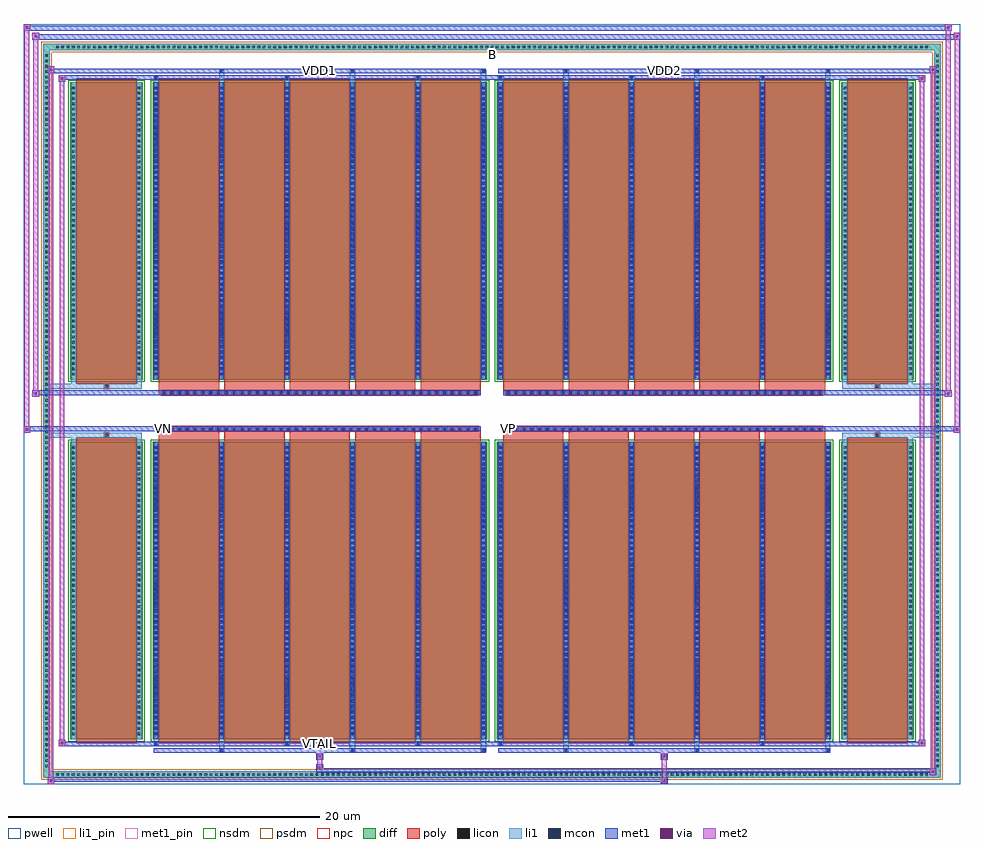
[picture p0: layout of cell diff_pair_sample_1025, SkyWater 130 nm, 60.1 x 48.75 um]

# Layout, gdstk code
import gdstk
lib = gdstk.Library(unit=1e-6, precision=5e-09)
def R(c, l, rs):  # rectangles x0, y0, x1, y1
    for r in rs: c.add(gdstk.rectangle(r[:2], r[2:], *l))
def A(c, l, x, y, w, h, nx, ny, dx, dy):  # array of equal rectangles
    R(c, l, [(x+i*dx, y+j*dy, x+i*dx+w, y+j*dy+h) for i in range(nx) for j in range(ny)])
def P(c, l, *ps):  # polygons
    for p in ps: c.add(gdstk.Polygon(p, *l))
pwell = (64, 44)
diff = (65, 20)
poly = (66, 20)
licon = (66, 44)
li1_pin = (67, 16)
li1 = (67, 20)
mcon = (67, 44)
met1_pin = (68, 16)
met1 = (68, 20)
via = (68, 44)
met2 = (69, 20)
nsdm = (93, 44)
psdm = (94, 20)
npc = (95, 20)

diff_pair_sample_1025 = lib.new_cell('diff_pair_sample_1025')
R(diff_pair_sample_1025, pwell, [(-30.05,-23.94,30.05,24.81), (-27.37,-22.13,-0.01,-0.795), (0.01,-22.13,27.37,-0.795), (-27.37,0.795,-0.01,22.13), (0.01,0.795,27.37,22.13)])
A(diff_pair_sample_1025, diff, -28.085, -23.54, 0.41, 0.41, 165, 2, 0.34, 46.67)
A(diff_pair_sample_1025, diff, -28.78, -22.985, 0.41, 0.41, 1, 135, 0, 0.34)
A(diff_pair_sample_1025, diff, 28.37, -22.985, 0.41, 0.41, 1, 135, 0, 0.34)
R(diff_pair_sample_1025, diff, [(-28.085,-23.54,28.085,-23.13), (-28.78,-22.985,-28.37,22.985), (28.37,-22.985,28.78,22.985), (-27.06,-21.085,-22.41,-1.985), (-21.77,-21.085,-0.32,-1.985), (0.32,-21.085,21.77,-1.985), (22.41,-21.085,27.06,-1.985), (-27.06,1.985,-22.41,21.085), (-21.77,1.985,-0.32,21.085), (0.32,1.985,21.77,21.085), (22.41,1.985,27.06,21.085), (-28.085,23.13,28.085,23.54)])
P(diff_pair_sample_1025, diff, [(28.78,23.54),(-28.78,23.54),(-28.78,-23.13),(-28.37,-23.13),(-28.37,23.13),(28.37,23.13),(28.37,-23.13),(-28.37,-23.13),(-28.78,-23.13),(-28.78,-23.54),(28.78,-23.54)])
A(diff_pair_sample_1025, poly, -21.38, -21.335, 3.87, 19.6, 5, 2, 4.2, 23.07)
A(diff_pair_sample_1025, poly, 0.71, -21.335, 3.87, 19.6, 5, 2, 4.2, 23.07)
A(diff_pair_sample_1025, poly, -21.38, -1.735, 3.87, 0.41, 5, 2, 4.2, 3.06)
A(diff_pair_sample_1025, poly, 0.71, -1.735, 3.87, 0.41, 5, 2, 4.2, 3.06)
A(diff_pair_sample_1025, poly, -21.21, -1.325, 0.33, 0.33, 41, 2, 0.5, 2.32)
A(diff_pair_sample_1025, poly, 0.88, -1.325, 0.33, 0.33, 41, 2, 0.5, 2.32)
R(diff_pair_sample_1025, poly, [(-26.67,-21.335,-22.8,-1.735), (22.8,-21.335,26.67,-1.735), (-24.9,-1.735,-24.57,-1.405), (-24.9,-1.735,-24.57,-1.405), (24.57,-1.735,24.9,-1.405), (24.57,-1.735,24.9,-1.405), (-21.38,-1.325,-0.71,-0.995), (0.71,-1.325,21.38,-0.995), (-21.38,0.995,-0.71,1.325), (0.71,0.995,21.38,1.325), (-24.9,1.405,-24.57,1.735), (-24.9,1.405,-24.57,1.735), (24.57,1.405,24.9,1.735), (24.57,1.405,24.9,1.735), (-26.67,1.735,-22.8,21.335), (22.8,1.735,26.67,21.335)])
A(diff_pair_sample_1025, licon, -27.965, -23.42, 0.17, 0.17, 165, 2, 0.34, 46.67)
A(diff_pair_sample_1025, licon, -28.66, -22.865, 0.17, 0.17, 1, 135, 0, 0.34)
A(diff_pair_sample_1025, licon, 28.49, -22.865, 0.17, 0.17, 1, 135, 0, 0.34)
A(diff_pair_sample_1025, licon, -26.92, -20.8, 0.17, 0.17, 1, 55, 0, 0.34)
A(diff_pair_sample_1025, licon, -22.72, -20.8, 0.17, 0.17, 1, 55, 0, 0.34)
A(diff_pair_sample_1025, licon, -21.63, -20.8, 0.17, 0.17, 6, 55, 4.2, 0.34)
A(diff_pair_sample_1025, licon, 0.46, -20.8, 0.17, 0.17, 6, 55, 4.2, 0.34)
A(diff_pair_sample_1025, licon, 22.55, -20.8, 0.17, 0.17, 1, 55, 0, 0.34)
A(diff_pair_sample_1025, licon, 26.75, -20.8, 0.17, 0.17, 1, 55, 0, 0.34)
A(diff_pair_sample_1025, licon, -21.13, -1.245, 0.17, 0.17, 41, 2, 0.5, 2.32)
A(diff_pair_sample_1025, licon, 0.96, -1.245, 0.17, 0.17, 41, 2, 0.5, 2.32)
A(diff_pair_sample_1025, licon, -26.92, 2.27, 0.17, 0.17, 1, 55, 0, 0.34)
A(diff_pair_sample_1025, licon, -22.72, 2.27, 0.17, 0.17, 1, 55, 0, 0.34)
A(diff_pair_sample_1025, licon, -21.63, 2.27, 0.17, 0.17, 6, 55, 4.2, 0.34)
A(diff_pair_sample_1025, licon, 0.46, 2.27, 0.17, 0.17, 6, 55, 4.2, 0.34)
A(diff_pair_sample_1025, licon, 22.55, 2.27, 0.17, 0.17, 1, 55, 0, 0.34)
A(diff_pair_sample_1025, licon, 26.75, 2.27, 0.17, 0.17, 1, 55, 0, 0.34)
R(diff_pair_sample_1025, licon, [(-24.82,-1.655,-24.65,-1.485), (24.65,-1.655,24.82,-1.485), (-24.82,1.485,-24.65,1.655), (24.65,1.485,24.82,1.655)])
R(diff_pair_sample_1025, li1_pin, [(-0.25,22.63,0.25,23.13)])
A(diff_pair_sample_1025, li1, -28.045, -23.5, 0.33, 0.33, 165, 2, 0.34, 46.67)
A(diff_pair_sample_1025, li1, -28.74, -22.945, 0.33, 0.33, 1, 135, 0, 0.34)
A(diff_pair_sample_1025, li1, 28.41, -22.945, 0.33, 0.33, 1, 135, 0, 0.34)
A(diff_pair_sample_1025, li1, -17.51, -21.89, 0.33, 0.805, 3, 2, 8.4, 42.975)
A(diff_pair_sample_1025, li1, -17.43, -21.89, 0.17, 0.17, 3, 2, 8.4, 43.61)
A(diff_pair_sample_1025, li1, 4.58, -21.89, 0.33, 0.805, 3, 2, 8.4, 42.975)
A(diff_pair_sample_1025, li1, 4.66, -21.89, 0.17, 0.17, 3, 2, 8.4, 43.61)
A(diff_pair_sample_1025, li1, -21.71, -21.46, 0.33, 0.375, 3, 2, 8.4, 42.545)
A(diff_pair_sample_1025, li1, -21.63, -21.46, 0.17, 0.17, 3, 2, 8.4, 42.75)
A(diff_pair_sample_1025, li1, 0.38, -21.46, 0.33, 0.375, 3, 2, 8.4, 42.545)
A(diff_pair_sample_1025, li1, 0.46, -21.46, 0.17, 0.17, 3, 2, 8.4, 42.75)
A(diff_pair_sample_1025, li1, -21.71, -21.085, 0.33, 19.1, 6, 2, 4.2, 23.07)
A(diff_pair_sample_1025, li1, 0.38, -21.085, 0.33, 19.1, 6, 2, 4.2, 23.07)
A(diff_pair_sample_1025, li1, -27, -20.88, 0.33, 0.33, 1, 55, 0, 0.34)
A(diff_pair_sample_1025, li1, -22.8, -20.88, 0.33, 0.33, 1, 55, 0, 0.34)
A(diff_pair_sample_1025, li1, -21.71, -20.88, 0.33, 0.33, 6, 55, 4.2, 0.34)
A(diff_pair_sample_1025, li1, 0.38, -20.88, 0.33, 0.33, 6, 55, 4.2, 0.34)
A(diff_pair_sample_1025, li1, 22.47, -20.88, 0.33, 0.33, 1, 55, 0, 0.34)
A(diff_pair_sample_1025, li1, 26.67, -20.88, 0.33, 0.33, 1, 55, 0, 0.34)
A(diff_pair_sample_1025, li1, -21.63, -20.8, 0.17, 0.17, 6, 52, 4.2, 0.36)
A(diff_pair_sample_1025, li1, -21.63, -20.8, 0.17, 18.53, 6, 2, 4.2, 23.07)
A(diff_pair_sample_1025, li1, 0.46, -20.8, 0.17, 0.17, 6, 52, 4.2, 0.36)
A(diff_pair_sample_1025, li1, 0.46, -20.8, 0.17, 18.53, 6, 2, 4.2, 23.07)
A(diff_pair_sample_1025, li1, -21.21, -1.325, 0.33, 0.33, 41, 2, 0.5, 2.32)
A(diff_pair_sample_1025, li1, 0.88, -1.325, 0.33, 0.33, 41, 2, 0.5, 2.32)
A(diff_pair_sample_1025, li1, -27, 2.19, 0.33, 0.33, 1, 55, 0, 0.34)
A(diff_pair_sample_1025, li1, -22.8, 2.19, 0.33, 0.33, 1, 55, 0, 0.34)
A(diff_pair_sample_1025, li1, -21.71, 2.19, 0.33, 0.33, 6, 55, 4.2, 0.34)
A(diff_pair_sample_1025, li1, 0.38, 2.19, 0.33, 0.33, 6, 55, 4.2, 0.34)
A(diff_pair_sample_1025, li1, 22.47, 2.19, 0.33, 0.33, 1, 55, 0, 0.34)
A(diff_pair_sample_1025, li1, 26.67, 2.19, 0.33, 0.33, 1, 55, 0, 0.34)
A(diff_pair_sample_1025, li1, -21.63, 2.27, 0.17, 0.17, 6, 52, 4.2, 0.36)
A(diff_pair_sample_1025, li1, 0.46, 2.27, 0.17, 0.17, 6, 52, 4.2, 0.36)
R(diff_pair_sample_1025, li1, [(-28.78,-23.54,-28.37,-23.13), (-28.78,-23.54,-28.37,-23.13), (-28.37,-23.54,28.37,-23.13), (28.37,-23.54,28.78,-23.13), (28.37,-23.54,28.78,-23.13), (-28.78,-23.13,-28.37,23.13), (28.37,-23.13,28.78,23.13), (-27,-21.085,-26.67,-1.985), (-22.8,-21.085,-22.47,-1.985), (22.47,-21.085,22.8,-1.985), (26.67,-21.085,27,-1.985), (-27,-1.985,-26.67,-1.405), (-22.8,-1.985,-22.47,-1.405), (22.47,-1.985,22.8,-1.405), (26.67,-1.985,27,-1.405), (-28.78,-1.735,-24.9,-1.405), (-27,-1.735,-24.9,-1.405), (-24.9,-1.735,-24.57,-1.405), (-24.57,-1.735,-22.47,-1.405), (22.47,-1.735,24.57,-1.405), (24.57,-1.735,24.9,-1.405), (24.57,-1.735,28.78,-1.405), (24.9,-1.735,27,-1.405), (-28.78,1.405,-24.9,1.735), (-27,1.405,-24.9,1.735), (-27,1.405,-26.67,1.985), (-24.9,1.405,-24.57,1.735), (-24.57,1.405,-22.47,1.735), (-22.8,1.405,-22.47,1.985), (22.47,1.405,24.57,1.735), (22.47,1.405,22.8,1.985), (24.57,1.405,24.9,1.735), (24.57,1.405,28.78,1.735), (24.9,1.405,27,1.735), (26.67,1.405,27,1.985), (-27,1.985,-26.67,21.085), (-22.8,1.985,-22.47,21.085), (22.47,1.985,22.8,21.085), (26.67,1.985,27,21.085), (-28.78,23.13,-28.37,23.54), (-28.78,23.13,-28.37,23.54), (-28.37,23.13,28.37,23.54), (28.37,23.13,28.78,23.54), (28.37,23.13,28.78,23.54)])
A(diff_pair_sample_1025, mcon, -17.43, -21.89, 0.17, 0.17, 3, 2, 8.4, 43.61)
A(diff_pair_sample_1025, mcon, 4.66, -21.89, 0.17, 0.17, 3, 2, 8.4, 43.61)
A(diff_pair_sample_1025, mcon, -21.63, -21.46, 0.17, 0.17, 3, 2, 8.4, 42.75)
A(diff_pair_sample_1025, mcon, 0.46, -21.46, 0.17, 0.17, 3, 2, 8.4, 42.75)
A(diff_pair_sample_1025, mcon, -21.63, -20.8, 0.17, 0.17, 6, 52, 4.2, 0.36)
A(diff_pair_sample_1025, mcon, 0.46, -20.8, 0.17, 0.17, 6, 52, 4.2, 0.36)
A(diff_pair_sample_1025, mcon, -21.13, -1.245, 0.17, 0.17, 41, 2, 0.5, 2.32)
A(diff_pair_sample_1025, mcon, 0.96, -1.245, 0.17, 0.17, 41, 2, 0.5, 2.32)
A(diff_pair_sample_1025, mcon, -21.63, 2.27, 0.17, 0.17, 6, 52, 4.2, 0.36)
A(diff_pair_sample_1025, mcon, 0.46, 2.27, 0.17, 0.17, 6, 52, 4.2, 0.36)
R(diff_pair_sample_1025, met1_pin, [(-11.18,-21.5,-10.91,-21.23), (-21.18,-1.285,-20.91,-1.015), (0.91,-1.285,1.18,-1.015), (-11.18,21.68,-10.91,21.95), (10.91,21.68,11.18,21.95)])
A(diff_pair_sample_1025, met1, -17.49, -21.95, 0.29, 0.29, 3, 2, 8.4, 43.61)
A(diff_pair_sample_1025, met1, 4.6, -21.95, 0.29, 0.29, 3, 2, 8.4, 43.61)
A(diff_pair_sample_1025, met1, -21.69, -21.52, 0.29, 0.29, 3, 2, 8.4, 42.75)
A(diff_pair_sample_1025, met1, 0.4, -21.52, 0.29, 0.29, 3, 2, 8.4, 42.75)
A(diff_pair_sample_1025, met1, -21.69, -21.085, 0.29, 19.1, 6, 2, 4.2, 23.07)
A(diff_pair_sample_1025, met1, 0.4, -21.085, 0.29, 19.1, 6, 2, 4.2, 23.07)
A(diff_pair_sample_1025, met1, -21.69, -20.86, 0.29, 0.29, 6, 52, 4.2, 0.36)
A(diff_pair_sample_1025, met1, 0.4, -20.86, 0.29, 0.29, 6, 52, 4.2, 0.36)
A(diff_pair_sample_1025, met1, -21.19, -1.305, 0.29, 0.29, 41, 2, 0.5, 2.32)
A(diff_pair_sample_1025, met1, 0.9, -1.305, 0.29, 0.29, 41, 2, 0.5, 2.32)
A(diff_pair_sample_1025, met1, -21.69, 2.21, 0.29, 0.29, 6, 52, 4.2, 0.36)
A(diff_pair_sample_1025, met1, 0.4, 2.21, 0.29, 0.29, 6, 52, 4.2, 0.36)
R(diff_pair_sample_1025, met1, [(-28.51,-23.94,-28.08,-23.51), (10.83,-23.94,11.26,-23.51), (-28.51,-23.8,11.26,-23.51), (28.08,-23.37,28.51,-22.94), (-11.26,-23.23,28.51,-22.94), (-11.26,-23.09,-10.83,-22.66), (-11.26,-22.38,-10.83,-21.95), (10.83,-22.38,11.26,-21.95), (-21.69,-21.95,-0.4,-21.66), (0.4,-21.95,21.69,-21.66), (-27.8,-21.52,-27.37,-21.09), (-27.8,-21.52,-21.69,-21.23), (-21.69,-21.52,-0.4,-21.23), (-0.4,-21.52,0.4,-21.23), (0.4,-21.52,21.69,-21.23), (21.69,-21.52,27.8,-21.23), (27.37,-21.52,27.8,-21.09), (-30.05,-1.425,-29.62,-0.995), (29.62,-1.425,30.05,-0.995), (-30.05,-1.325,-0.71,-0.995), (-21.38,-1.325,-0.71,-0.995), (0.71,-1.325,21.38,-0.995), (0.71,-1.325,30.05,-0.995), (-29.48,0.895,-29.05,1.325), (29.05,0.895,29.48,1.325), (-29.48,0.995,-21.38,1.325), (-21.38,0.995,-0.71,1.325), (0.71,0.995,21.38,1.325), (21.38,0.995,29.48,1.325), (-27.8,21.09,-27.37,21.52), (27.37,21.09,27.8,21.52), (-27.8,21.23,-21.69,21.52), (-21.69,21.23,-0.4,21.52), (-0.4,21.23,0.4,21.52), (0.4,21.23,21.69,21.52), (21.69,21.23,27.8,21.52), (-28.51,21.66,-28.08,22.09), (-28.51,21.66,-21.69,21.95), (-21.69,21.66,-0.4,21.95), (0.4,21.66,21.69,21.95), (21.69,21.66,28.51,21.95), (28.08,21.66,28.51,22.09), (-29.48,23.81,-29.05,24.24), (-29.48,23.81,-27.37,24.14), (-27.37,23.81,27.37,24.14), (27.37,23.81,30.05,24.14), (29.62,23.81,30.05,24.24), (-30.05,24.38,-29.62,24.81), (-30.05,24.38,-27.37,24.71), (-27.37,24.38,27.37,24.71), (27.37,24.38,29.48,24.71), (29.05,24.38,29.48,24.81)])
R(diff_pair_sample_1025, via, [(-28.37,-23.8,-28.22,-23.65), (10.97,-23.8,11.12,-23.65), (28.22,-23.23,28.37,-23.08), (-11.12,-22.95,-10.97,-22.8), (-11.12,-22.24,-10.97,-22.09), (10.97,-22.24,11.12,-22.09), (-27.66,-21.38,-27.51,-21.23), (27.51,-21.38,27.66,-21.23), (-29.91,-1.285,-29.76,-1.135), (29.76,-1.285,29.91,-1.135), (-29.34,1.035,-29.19,1.185), (29.19,1.035,29.34,1.185), (-27.66,21.23,-27.51,21.38), (27.51,21.23,27.66,21.38), (-28.37,21.8,-28.22,21.95), (28.22,21.8,28.37,21.95), (-29.34,23.95,-29.19,24.1), (29.76,23.95,29.91,24.1), (-29.91,24.52,-29.76,24.67), (29.19,24.52,29.34,24.67)])
R(diff_pair_sample_1025, met2, [(-28.51,-23.94,-28.08,-23.51), (-28.44,-23.94,-28.15,22.09), (-28.15,-23.94,-28.08,-23.51), (-28.46,-23.89,-28.13,-23.56), (10.88,-23.89,11.21,-23.56), (10.88,-23.56,11.21,-22.33), (28.08,-23.37,28.51,-22.94), (28.15,-23.37,28.44,22.09), (28.44,-23.37,28.51,-22.94), (28.13,-23.32,28.46,-22.99), (-11.21,-23.04,-10.88,-22.71), (-11.21,-22.71,-10.88,-22.33), (-11.21,-22.33,-10.88,-22), (10.88,-22.33,11.21,-22), (-27.8,-21.52,-27.37,-21.09), (-27.73,-21.52,-27.44,21.52), (-27.44,-21.52,-27.37,-21.09), (27.37,-21.52,27.8,-21.09), (27.44,-21.52,27.73,21.52), (27.73,-21.52,27.8,-21.09), (-27.75,-21.47,-27.42,-21.14), (27.42,-21.47,27.75,-21.14), (-30.05,-1.425,-29.62,-0.995), (-30,-1.425,-29.67,24.81), (-29.67,-1.425,-29.62,-0.995), (29.62,-1.425,30.05,-0.995), (29.67,-1.425,30,24.24), (30,-1.425,30.05,-0.995), (-30,-1.375,-29.67,-1.045), (29.67,-1.375,30,-1.045), (-29.48,0.895,-29.05,1.325), (-29.43,0.895,-29.1,24.24), (-29.1,0.895,-29.05,1.325), (29.05,0.895,29.48,1.325), (29.1,0.895,29.43,24.81), (29.43,0.895,29.48,1.325), (-29.43,0.945,-29.1,1.275), (29.1,0.945,29.43,1.275), (-27.8,21.09,-27.37,21.52), (-27.44,21.09,-27.37,21.52), (27.37,21.09,27.8,21.52), (27.73,21.09,27.8,21.52), (-27.75,21.14,-27.42,21.47), (27.42,21.14,27.75,21.47), (-28.51,21.66,-28.08,22.09), (-28.15,21.66,-28.08,22.09), (28.08,21.66,28.51,22.09), (28.44,21.66,28.51,22.09), (-28.46,21.71,-28.13,22.04), (28.13,21.71,28.46,22.04), (-29.48,23.81,-29.05,24.24), (-29.1,23.81,-29.05,24.24), (29.62,23.81,30.05,24.24), (30,23.81,30.05,24.24), (-29.43,23.86,-29.1,24.19), (29.67,23.86,30,24.19), (-30.05,24.38,-29.62,24.81), (-29.67,24.38,-29.62,24.81), (29.05,24.38,29.48,24.81), (29.43,24.38,29.48,24.81), (-30,24.43,-29.67,24.76), (29.1,24.43,29.43,24.76)])
R(diff_pair_sample_1025, nsdm, [(-27.19,-21.215,-22.28,-1.855), (-21.9,-21.215,-0.19,-1.855), (0.19,-21.215,21.9,-1.855), (22.28,-21.215,27.19,-1.855), (-27.19,1.855,-22.28,21.215), (-21.9,1.855,-0.19,21.215), (0.19,1.855,21.9,21.215), (22.28,1.855,27.19,21.215)])
P(diff_pair_sample_1025, psdm, [(28.91,23.67),(-28.91,23.67),(-28.91,-23),(-28.24,-23),(-28.24,23),(28.24,23),(28.24,-23),(-28.24,-23),(-28.91,-23),(-28.91,-23.67),(28.91,-23.67)])
A(diff_pair_sample_1025, npc, -21.23, -1.345, 0.37, 0.37, 41, 2, 0.5, 2.32)
A(diff_pair_sample_1025, npc, 0.86, -1.345, 0.37, 0.37, 41, 2, 0.5, 2.32)
R(diff_pair_sample_1025, npc, [(-24.92,-1.755,-24.55,-1.385), (24.55,-1.755,24.92,-1.385), (-21.23,-1.345,-20.36,-0.975), (-21.23,-1.345,-20.36,-0.975), (-20.73,-1.345,-19.86,-0.975), (-20.73,-1.345,-19.86,-0.975), (-20.23,-1.345,-19.36,-0.975), (-20.23,-1.345,-19.36,-0.975), (-19.73,-1.345,-18.86,-0.975), (-19.73,-1.345,-18.86,-0.975), (-19.23,-1.345,-18.36,-0.975), (-19.23,-1.345,-18.36,-0.975), (-18.73,-1.345,-17.86,-0.975), (-18.73,-1.345,-17.86,-0.975), (-18.23,-1.345,-17.36,-0.975), (-18.23,-1.345,-17.36,-0.975), (-17.73,-1.345,-16.86,-0.975), (-17.73,-1.345,-16.86,-0.975), (-17.23,-1.345,-16.36,-0.975), (-17.23,-1.345,-16.36,-0.975), (-16.73,-1.345,-15.86,-0.975), (-16.73,-1.345,-15.86,-0.975), (-16.23,-1.345,-15.36,-0.975), (-16.23,-1.345,-15.36,-0.975), (-15.73,-1.345,-14.86,-0.975), (-15.73,-1.345,-14.86,-0.975), (-15.23,-1.345,-14.36,-0.975), (-15.23,-1.345,-14.36,-0.975), (-14.73,-1.345,-13.86,-0.975), (-14.73,-1.345,-13.86,-0.975), (-14.23,-1.345,-13.36,-0.975), (-14.23,-1.345,-13.36,-0.975), (-13.73,-1.345,-12.86,-0.975), (-13.73,-1.345,-12.86,-0.975), (-13.23,-1.345,-12.36,-0.975), (-13.23,-1.345,-12.36,-0.975), (-12.73,-1.345,-11.86,-0.975), (-12.73,-1.345,-11.86,-0.975), (-12.23,-1.345,-11.36,-0.975), (-12.23,-1.345,-11.36,-0.975), (-11.73,-1.345,-10.86,-0.975), (-11.73,-1.345,-10.86,-0.975), (-11.23,-1.345,-10.36,-0.975), (-11.23,-1.345,-10.36,-0.975), (-10.73,-1.345,-9.86,-0.975), (-10.73,-1.345,-9.86,-0.975), (-10.23,-1.345,-9.36,-0.975), (-10.23,-1.345,-9.36,-0.975), (-9.73,-1.345,-8.86,-0.975), (-9.73,-1.345,-8.86,-0.975), (-9.23,-1.345,-8.36,-0.975), (-9.23,-1.345,-8.36,-0.975), (-8.73,-1.345,-7.86,-0.975), (-8.73,-1.345,-7.86,-0.975), (-8.23,-1.345,-7.36,-0.975), (-8.23,-1.345,-7.36,-0.975), (-7.73,-1.345,-6.86,-0.975), (-7.73,-1.345,-6.86,-0.975), (-7.23,-1.345,-6.36,-0.975), (-7.23,-1.345,-6.36,-0.975), (-6.73,-1.345,-5.86,-0.975), (-6.73,-1.345,-5.86,-0.975), (-6.23,-1.345,-5.36,-0.975), (-6.23,-1.345,-5.36,-0.975), (-5.73,-1.345,-4.86,-0.975), (-5.73,-1.345,-4.86,-0.975), (-5.23,-1.345,-4.36,-0.975), (-5.23,-1.345,-4.36,-0.975), (-4.73,-1.345,-3.86,-0.975), (-4.73,-1.345,-3.86,-0.975), (-4.23,-1.345,-3.36,-0.975), (-4.23,-1.345,-3.36,-0.975), (-3.73,-1.345,-2.86,-0.975), (-3.73,-1.345,-2.86,-0.975), (-3.23,-1.345,-2.36,-0.975), (-3.23,-1.345,-2.36,-0.975), (-2.73,-1.345,-1.86,-0.975), (-2.73,-1.345,-1.86,-0.975), (-2.23,-1.345,-1.36,-0.975), (-2.23,-1.345,-1.36,-0.975), (-1.73,-1.345,-0.86,-0.975), (-1.73,-1.345,-0.86,-0.975), (0.86,-1.345,1.73,-0.975), (0.86,-1.345,1.73,-0.975), (1.36,-1.345,2.23,-0.975), (1.36,-1.345,2.23,-0.975), (1.86,-1.345,2.73,-0.975), (1.86,-1.345,2.73,-0.975), (2.36,-1.345,3.23,-0.975), (2.36,-1.345,3.23,-0.975), (2.86,-1.345,3.73,-0.975), (2.86,-1.345,3.73,-0.975), (3.36,-1.345,4.23,-0.975), (3.36,-1.345,4.23,-0.975), (3.86,-1.345,4.73,-0.975), (3.86,-1.345,4.73,-0.975), (4.36,-1.345,5.23,-0.975), (4.36,-1.345,5.23,-0.975), (4.86,-1.345,5.73,-0.975), (4.86,-1.345,5.73,-0.975), (5.36,-1.345,6.23,-0.975), (5.36,-1.345,6.23,-0.975), (5.86,-1.345,6.73,-0.975), (5.86,-1.345,6.73,-0.975), (6.36,-1.345,7.23,-0.975), (6.36,-1.345,7.23,-0.975), (6.86,-1.345,7.73,-0.975), (6.86,-1.345,7.73,-0.975), (7.36,-1.345,8.23,-0.975), (7.36,-1.345,8.23,-0.975), (7.86,-1.345,8.73,-0.975), (7.86,-1.345,8.73,-0.975), (8.36,-1.345,9.23,-0.975), (8.36,-1.345,9.23,-0.975), (8.86,-1.345,9.73,-0.975), (8.86,-1.345,9.73,-0.975), (9.36,-1.345,10.23,-0.975), (9.36,-1.345,10.23,-0.975), (9.86,-1.345,10.73,-0.975), (9.86,-1.345,10.73,-0.975), (10.36,-1.345,11.23,-0.975), (10.36,-1.345,11.23,-0.975), (10.86,-1.345,11.73,-0.975), (10.86,-1.345,11.73,-0.975), (11.36,-1.345,12.23,-0.975), (11.36,-1.345,12.23,-0.975), (11.86,-1.345,12.73,-0.975), (11.86,-1.345,12.73,-0.975), (12.36,-1.345,13.23,-0.975), (12.36,-1.345,13.23,-0.975), (12.86,-1.345,13.73,-0.975), (12.86,-1.345,13.73,-0.975), (13.36,-1.345,14.23,-0.975), (13.36,-1.345,14.23,-0.975), (13.86,-1.345,14.73,-0.975), (13.86,-1.345,14.73,-0.975), (14.36,-1.345,15.23,-0.975), (14.36,-1.345,15.23,-0.975), (14.86,-1.345,15.73,-0.975), (14.86,-1.345,15.73,-0.975), (15.36,-1.345,16.23,-0.975), (15.36,-1.345,16.23,-0.975), (15.86,-1.345,16.73,-0.975), (15.86,-1.345,16.73,-0.975), (16.36,-1.345,17.23,-0.975), (16.36,-1.345,17.23,-0.975), (16.86,-1.345,17.73,-0.975), (16.86,-1.345,17.73,-0.975), (17.36,-1.345,18.23,-0.975), (17.36,-1.345,18.23,-0.975), (17.86,-1.345,18.73,-0.975), (17.86,-1.345,18.73,-0.975), (18.36,-1.345,19.23,-0.975), (18.36,-1.345,19.23,-0.975), (18.86,-1.345,19.73,-0.975), (18.86,-1.345,19.73,-0.975), (19.36,-1.345,20.23,-0.975), (19.36,-1.345,20.23,-0.975), (19.86,-1.345,20.73,-0.975), (19.86,-1.345,20.73,-0.975), (20.36,-1.345,21.23,-0.975), (20.36,-1.345,21.23,-0.975), (-21.23,0.975,-20.36,1.345), (-21.23,0.975,-20.36,1.345), (-20.73,0.975,-19.86,1.345), (-20.73,0.975,-19.86,1.345), (-20.23,0.975,-19.36,1.345), (-20.23,0.975,-19.36,1.345), (-19.73,0.975,-18.86,1.345), (-19.73,0.975,-18.86,1.345), (-19.23,0.975,-18.36,1.345), (-19.23,0.975,-18.36,1.345), (-18.73,0.975,-17.86,1.345), (-18.73,0.975,-17.86,1.345), (-18.23,0.975,-17.36,1.345), (-18.23,0.975,-17.36,1.345), (-17.73,0.975,-16.86,1.345), (-17.73,0.975,-16.86,1.345), (-17.23,0.975,-16.36,1.345), (-17.23,0.975,-16.36,1.345), (-16.73,0.975,-15.86,1.345), (-16.73,0.975,-15.86,1.345), (-16.23,0.975,-15.36,1.345), (-16.23,0.975,-15.36,1.345), (-15.73,0.975,-14.86,1.345), (-15.73,0.975,-14.86,1.345), (-15.23,0.975,-14.36,1.345), (-15.23,0.975,-14.36,1.345), (-14.73,0.975,-13.86,1.345), (-14.73,0.975,-13.86,1.345), (-14.23,0.975,-13.36,1.345), (-14.23,0.975,-13.36,1.345), (-13.73,0.975,-12.86,1.345), (-13.73,0.975,-12.86,1.345), (-13.23,0.975,-12.36,1.345), (-13.23,0.975,-12.36,1.345), (-12.73,0.975,-11.86,1.345), (-12.73,0.975,-11.86,1.345), (-12.23,0.975,-11.36,1.345), (-12.23,0.975,-11.36,1.345), (-11.73,0.975,-10.86,1.345), (-11.73,0.975,-10.86,1.345), (-11.23,0.975,-10.36,1.345), (-11.23,0.975,-10.36,1.345), (-10.73,0.975,-9.86,1.345), (-10.73,0.975,-9.86,1.345), (-10.23,0.975,-9.36,1.345), (-10.23,0.975,-9.36,1.345), (-9.73,0.975,-8.86,1.345), (-9.73,0.975,-8.86,1.345), (-9.23,0.975,-8.36,1.345), (-9.23,0.975,-8.36,1.345), (-8.73,0.975,-7.86,1.345), (-8.73,0.975,-7.86,1.345), (-8.23,0.975,-7.36,1.345), (-8.23,0.975,-7.36,1.345), (-7.73,0.975,-6.86,1.345), (-7.73,0.975,-6.86,1.345), (-7.23,0.975,-6.36,1.345), (-7.23,0.975,-6.36,1.345), (-6.73,0.975,-5.86,1.345), (-6.73,0.975,-5.86,1.345), (-6.23,0.975,-5.36,1.345), (-6.23,0.975,-5.36,1.345), (-5.73,0.975,-4.86,1.345), (-5.73,0.975,-4.86,1.345), (-5.23,0.975,-4.36,1.345), (-5.23,0.975,-4.36,1.345), (-4.73,0.975,-3.86,1.345), (-4.73,0.975,-3.86,1.345), (-4.23,0.975,-3.36,1.345), (-4.23,0.975,-3.36,1.345), (-3.73,0.975,-2.86,1.345), (-3.73,0.975,-2.86,1.345), (-3.23,0.975,-2.36,1.345), (-3.23,0.975,-2.36,1.345), (-2.73,0.975,-1.86,1.345), (-2.73,0.975,-1.86,1.345), (-2.23,0.975,-1.36,1.345), (-2.23,0.975,-1.36,1.345), (-1.73,0.975,-0.86,1.345), (-1.73,0.975,-0.86,1.345), (0.86,0.975,1.73,1.345), (0.86,0.975,1.73,1.345), (1.36,0.975,2.23,1.345), (1.36,0.975,2.23,1.345), (1.86,0.975,2.73,1.345), (1.86,0.975,2.73,1.345), (2.36,0.975,3.23,1.345), (2.36,0.975,3.23,1.345), (2.86,0.975,3.73,1.345), (2.86,0.975,3.73,1.345), (3.36,0.975,4.23,1.345), (3.36,0.975,4.23,1.345), (3.86,0.975,4.73,1.345), (3.86,0.975,4.73,1.345), (4.36,0.975,5.23,1.345), (4.36,0.975,5.23,1.345), (4.86,0.975,5.73,1.345), (4.86,0.975,5.73,1.345), (5.36,0.975,6.23,1.345), (5.36,0.975,6.23,1.345), (5.86,0.975,6.73,1.345), (5.86,0.975,6.73,1.345), (6.36,0.975,7.23,1.345), (6.36,0.975,7.23,1.345), (6.86,0.975,7.73,1.345), (6.86,0.975,7.73,1.345), (7.36,0.975,8.23,1.345), (7.36,0.975,8.23,1.345), (7.86,0.975,8.73,1.345), (7.86,0.975,8.73,1.345), (8.36,0.975,9.23,1.345), (8.36,0.975,9.23,1.345), (8.86,0.975,9.73,1.345), (8.86,0.975,9.73,1.345), (9.36,0.975,10.23,1.345), (9.36,0.975,10.23,1.345), (9.86,0.975,10.73,1.345), (9.86,0.975,10.73,1.345), (10.36,0.975,11.23,1.345), (10.36,0.975,11.23,1.345), (10.86,0.975,11.73,1.345), (10.86,0.975,11.73,1.345), (11.36,0.975,12.23,1.345), (11.36,0.975,12.23,1.345), (11.86,0.975,12.73,1.345), (11.86,0.975,12.73,1.345), (12.36,0.975,13.23,1.345), (12.36,0.975,13.23,1.345), (12.86,0.975,13.73,1.345), (12.86,0.975,13.73,1.345), (13.36,0.975,14.23,1.345), (13.36,0.975,14.23,1.345), (13.86,0.975,14.73,1.345), (13.86,0.975,14.73,1.345), (14.36,0.975,15.23,1.345), (14.36,0.975,15.23,1.345), (14.86,0.975,15.73,1.345), (14.86,0.975,15.73,1.345), (15.36,0.975,16.23,1.345), (15.36,0.975,16.23,1.345), (15.86,0.975,16.73,1.345), (15.86,0.975,16.73,1.345), (16.36,0.975,17.23,1.345), (16.36,0.975,17.23,1.345), (16.86,0.975,17.73,1.345), (16.86,0.975,17.73,1.345), (17.36,0.975,18.23,1.345), (17.36,0.975,18.23,1.345), (17.86,0.975,18.73,1.345), (17.86,0.975,18.73,1.345), (18.36,0.975,19.23,1.345), (18.36,0.975,19.23,1.345), (18.86,0.975,19.73,1.345), (18.86,0.975,19.73,1.345), (19.36,0.975,20.23,1.345), (19.36,0.975,20.23,1.345), (19.86,0.975,20.73,1.345), (19.86,0.975,20.73,1.345), (20.36,0.975,21.23,1.345), (20.36,0.975,21.23,1.345), (-24.92,1.385,-24.55,1.755), (24.55,1.385,24.92,1.755)])
diff_pair_sample_1025.add(gdstk.Label('VTAIL', (-11.045,-21.365), layer=68, texttype=5))
diff_pair_sample_1025.add(gdstk.Label('VN', (-21.045,-1.15), layer=68, texttype=5))
diff_pair_sample_1025.add(gdstk.Label('VP', (1.045,-1.15), layer=68, texttype=5))
diff_pair_sample_1025.add(gdstk.Label('B', (0,22.88), layer=67, texttype=5))
diff_pair_sample_1025.add(gdstk.Label('VDD2', (11.045,21.815), layer=68, texttype=5))
diff_pair_sample_1025.add(gdstk.Label('VDD1', (-11.045,21.815), layer=68, texttype=5))

lib.write_gds('diff_pair_sample_1025.gds')
